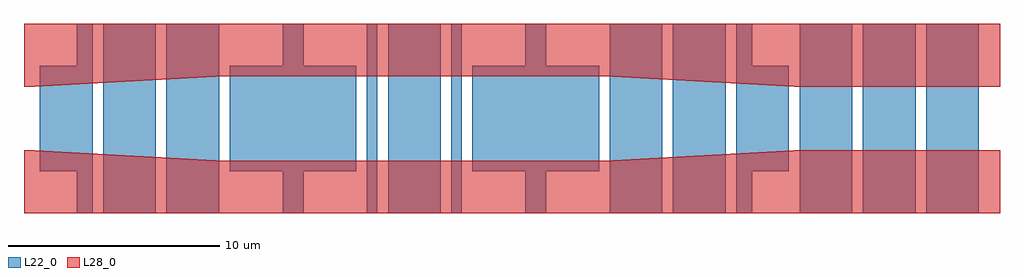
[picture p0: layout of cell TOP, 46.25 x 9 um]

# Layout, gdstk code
import gdstk
lib = gdstk.Library(unit=1e-6, precision=1e-09)
def R(c, l, rs):  # rectangles x0, y0, x1, y1
    for r in rs: c.add(gdstk.rectangle(r[:2], r[2:], *l))
def A(c, l, x, y, w, h, nx, ny, dx, dy):  # array of equal rectangles
    R(c, l, [(x+i*dx, y+j*dy, x+i*dx+w, y+j*dy+h) for i in range(nx) for j in range(ny)])
def P(c, l, *ps):  # polygons
    for p in ps: c.add(gdstk.Polygon(p, *l))
L22_0 = (22, 0)
L28_0 = (28, 0)

top = lib.new_cell('TOP')
A(top, L22_0, -16.375, -4.5, 2.5, 9, 3, 1, 10.5, 0)
A(top, L22_0, 13.625, -4.5, 2.5, 9, 3, 1, 3, 0)
R(top, L22_0, [(-19.375,-4.5,-16.875,4.5), (-10.875,-4.5,-9.875,-2.5), (-6.875,-4.5,-6.375,4.5), (-2.875,-4.5,-2.375,4.5), (0.625,-4.5,1.625,-2.5), (7.625,-4.5,10.125,4.5), (-13.375,-2.5,-7.375,2.5), (-1.875,-2.5,4.125,2.5), (-10.875,2.5,-9.875,4.5), (0.625,2.5,1.625,4.5)])
P(top, L22_0, [(10.625,-4.5),(10.625,4.5),(11.375,4.5),(11.375,2.5),(13.125,2.5),(13.125,-2.5),(11.375,-2.5),(11.375,-4.5)],
  [(-20.625,-4.5),(-20.625,-2.5),(-22.375,-2.5),(-22.375,2.5),(-20.625,2.5),(-20.625,4.5),(-19.875,4.5),(-19.875,-4.5)])
R(top, L28_0, [(-23.125,-4.5,-22.625,-1.5), (-13.625,-4.5,4.375,-2), (13.375,-4.5,23.125,-1.5), (-23.125,1.5,-22.625,4.5), (13.375,1.5,23.125,4.5), (-13.625,2,4.375,4.5)])
P(top, L28_0, [(-22.625,-4.5),(-22.625,-1.5),(-13.625,-2),(-13.625,-4.5)],
  [(-22.625,1.5),(-22.625,4.5),(-13.625,4.5),(-13.625,2)],
  [(4.375,-4.5),(4.375,-2),(13.375,-1.5),(13.375,-4.5)],
  [(13.375,1.5),(4.375,2),(4.375,4.5),(13.375,4.5)])

lib.write_gds('TOP.gds')
